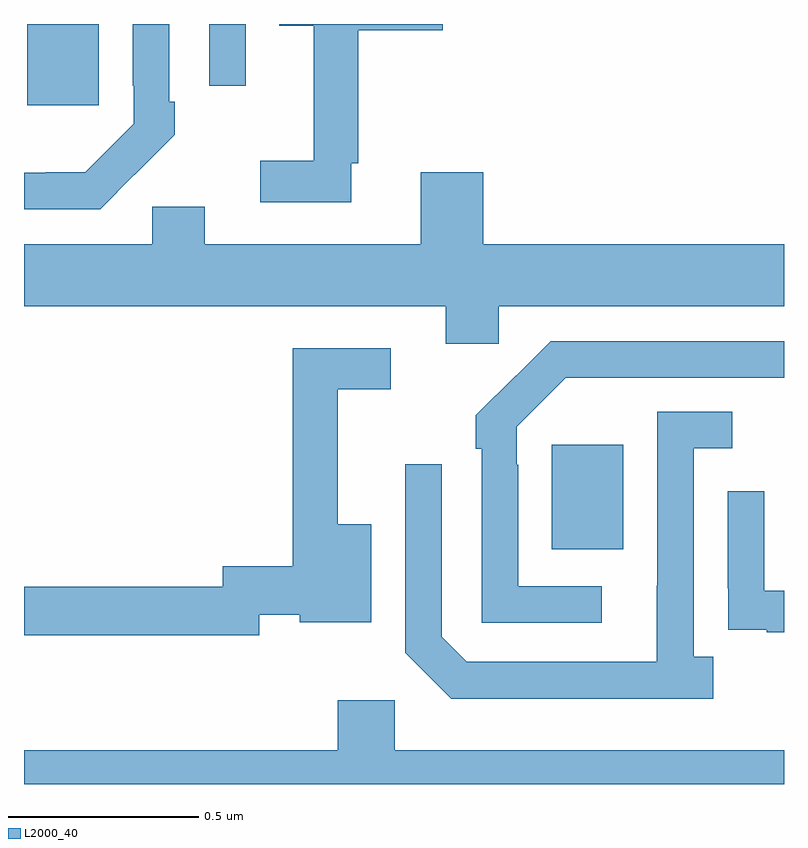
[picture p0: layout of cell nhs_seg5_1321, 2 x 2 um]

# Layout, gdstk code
import gdstk
lib = gdstk.Library(unit=1e-6, precision=1e-09)
def R(c, l, rs):  # rectangles x0, y0, x1, y1
    for r in rs: c.add(gdstk.rectangle(r[:2], r[2:], *l))
def P(c, l, *ps):  # polygons
    for p in ps: c.add(gdstk.Polygon(p, *l))
L2000_40 = (2000, 40)

nhs_seg5_1321 = lib.new_cell('nhs_seg5_1321')
R(nhs_seg5_1321, L2000_40, [(129.389,893.417,129.577,893.692), (128.009,894.585,128.197,894.799), (128.487,894.636,128.583,894.799)])
P(nhs_seg5_1321, L2000_40, [(128.291,894.403),(128.292,894.402),(128.397,894.507),(128.397,894.595),(128.382,894.595),(128.382,894.799),(128.286,894.799),(128.286,894.637),(128.289,894.637),(128.289,894.537),(128.161,894.409),(128.057,894.409),(128.057,894.408),(128,894.408),(128,894.312),(128.2,894.312)],
  [(128.861,894.433),(128.879,894.433),(128.879,894.782),(129.102,894.782),(129.102,894.799),(128.672,894.799),(128.672,894.794),(128.762,894.794),(128.762,894.439),(128.622,894.439),(128.622,894.33),(128.861,894.33)],
  [(129.249,894.056),(130,894.056),(130,894.22),(129.208,894.22),(129.208,894.409),(129.044,894.409),(129.044,894.22),(128.476,894.22),(128.476,894.318),(128.337,894.318),(128.337,894.22),(128,894.22),(128,894.056),(129.11,894.056),(129.11,893.958),(129.249,893.958)],
  [(129.52,893.319),(129.3,893.319),(129.3,893.639),(129.297,893.639),(129.297,893.739),(129.426,893.868),(130,893.868),(130,893.964),(129.386,893.964),(129.295,893.873),(129.294,893.874),(129.189,893.769),(129.189,893.681),(129.204,893.681),(129.204,893.223),(129.52,893.223)],
  [(128.619,893.244),(128.726,893.244),(128.726,893.225),(128.914,893.225),(128.914,893.482),(128.825,893.482),(128.825,893.838),(128.965,893.838),(128.965,893.946),(128.707,893.946),(128.707,893.372),(128.523,893.372),(128.523,893.318),(128,893.318),(128,893.19),(128.619,893.19)],
  [(129.814,893.134),(129.762,893.134),(129.762,893.682),(129.864,893.682),(129.864,893.778),(129.666,893.778),(129.666,893.321),(129.665,893.321),(129.665,893.121),(129.165,893.121),(129.099,893.187),(129.099,893.641),(129.003,893.641),(129.003,893.145),(129.124,893.024),(129.814,893.024)],
  [(130,893.307),(129.948,893.307),(129.948,893.569),(129.852,893.569),(129.852,893.314),(129.853,893.314),(129.853,893.205),(129.955,893.205),(129.955,893.199),(130,893.199)],
  [(130,892.888),(128.976,892.888),(128.976,893.02),(128.825,893.02),(128.825,892.888),(128,892.888),(128,892.799),(130,892.799)])

lib.write_gds('nhs_seg5_1321.gds')
